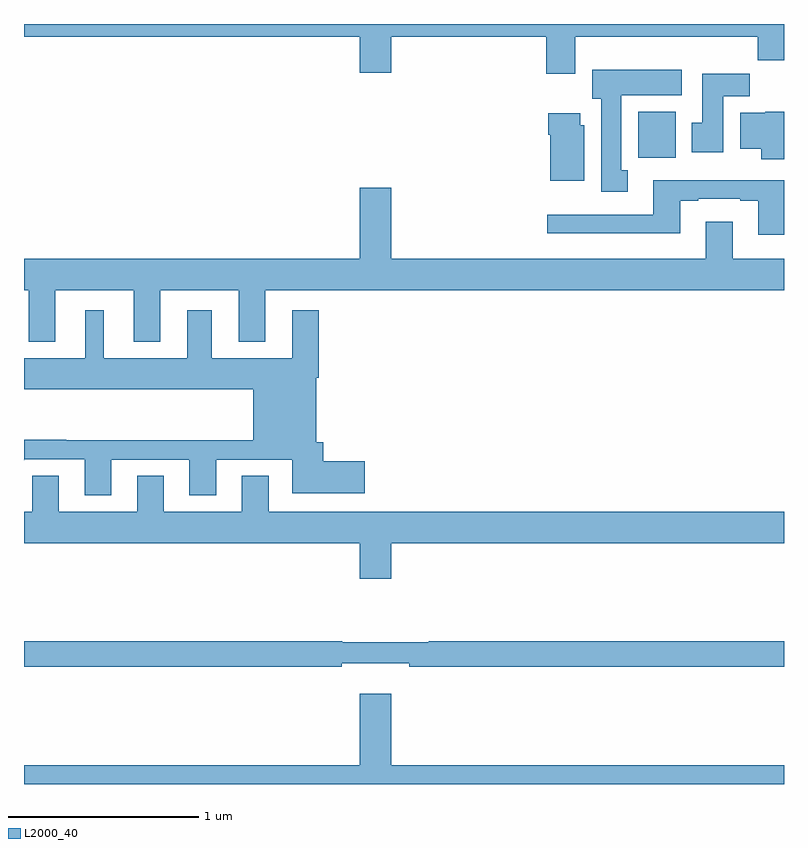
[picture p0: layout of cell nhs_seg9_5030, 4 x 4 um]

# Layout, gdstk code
import gdstk
lib = gdstk.Library(unit=1e-6, precision=1e-09)
def R(c, l, rs):  # rectangles x0, y0, x1, y1
    for r in rs: c.add(gdstk.rectangle(r[:2], r[2:], *l))
def P(c, l, *ps):  # polygons
    for p in ps: c.add(gdstk.Polygon(p, *l))
L2000_40 = (2000, 40)

nhs_seg9_5030 = lib.new_cell('nhs_seg9_5030')
R(nhs_seg9_5030, L2000_40, [(406.232,1183.796,406.429,1184.038)])
P(nhs_seg9_5030, L2000_40, [(403,1184.432),(404.768,1184.432),(404.768,1184.244),(404.932,1184.244),(404.932,1184.432),(405.749,1184.432),(405.749,1184.238),(405.901,1184.238),(405.901,1184.432),(406.861,1184.432),(406.861,1184.308),(407,1184.308),(407,1184.5),(403,1184.5)],
  [(406.177,1183.73),(406.144,1183.73),(406.144,1184.126),(406.462,1184.126),(406.462,1184.26),(405.992,1184.26),(405.992,1184.106),(406.037,1184.106),(406.037,1183.617),(406.177,1183.617)],
  [(406.681,1184.12),(406.82,1184.12),(406.82,1184.239),(406.571,1184.239),(406.571,1183.98),(406.514,1183.98),(406.514,1183.824),(406.681,1183.824)],
  [(407,1184.038),(406.902,1184.038),(406.902,1184.032),(406.769,1184.032),(406.769,1183.844),(406.88,1183.844),(406.88,1183.787),(407,1183.787)],
  [(405.949,1183.968),(405.928,1183.968),(405.928,1184.029),(405.758,1184.029),(405.758,1183.916),(405.77,1183.916),(405.77,1183.676),(405.949,1183.676)],
  [(407,1183.678),(406.313,1183.678),(406.313,1183.497),(405.753,1183.497),(405.753,1183.4),(406.453,1183.4),(406.453,1183.569),(406.549,1183.569),(406.549,1183.581),(406.769,1183.581),(406.769,1183.569),(406.865,1183.569),(406.865,1183.392),(407,1183.392)],
  [(403.165,1183.1),(403.577,1183.1),(403.577,1182.827),(403.717,1182.827),(403.717,1183.1),(404.129,1183.1),(404.129,1182.827),(404.269,1182.827),(404.269,1183.1),(407,1183.1),(407,1183.264),(406.729,1183.264),(406.729,1183.459),(406.589,1183.459),(406.589,1183.264),(404.932,1183.264),(404.932,1183.639),(404.768,1183.639),(404.768,1183.264),(403,1183.264),(403,1183.1),(403.025,1183.1),(403.025,1182.827),(403.165,1182.827)],
  [(403.459,1182.207),(403.871,1182.207),(403.871,1182.021),(404.011,1182.021),(404.011,1182.207),(404.411,1182.207),(404.411,1182.029),(404.794,1182.029),(404.794,1182.2),(404.576,1182.2),(404.576,1182.3),(404.539,1182.3),(404.539,1182.638),(404.552,1182.638),(404.552,1182.994),(404.411,1182.994),(404.411,1182.742),(403.987,1182.742),(403.987,1182.994),(403.859,1182.994),(403.859,1182.742),(403.42,1182.742),(403.42,1182.994),(403.322,1182.994),(403.322,1182.742),(403,1182.742),(403,1182.578),(404.207,1182.578),(404.207,1182.308),(403.223,1182.308),(403.223,1182.311),(403,1182.311),(403,1182.205),(403.005,1182.21),(403.319,1182.21),(403.319,1182.021),(403.459,1182.021)],
  [(404.932,1181.768),(407,1181.768),(407,1181.932),(404.287,1181.932),(404.287,1182.122),(404.147,1182.122),(404.147,1181.932),(403.735,1181.932),(403.735,1182.122),(403.595,1182.122),(403.595,1181.932),(403.183,1181.932),(403.183,1182.122),(403.044,1182.122),(403.044,1181.932),(403,1181.932),(403,1181.768),(404.768,1181.768),(404.768,1181.58),(404.932,1181.58)],
  [(404.672,1181.135),(405.028,1181.135),(405.028,1181.116),(407,1181.116),(407,1181.252),(405.13,1181.252),(405.13,1181.245),(404.675,1181.245),(404.675,1181.252),(403,1181.252),(403,1181.116),(404.672,1181.116)],
  [(407,1180.6),(404.932,1180.6),(404.932,1180.975),(404.768,1180.975),(404.768,1180.6),(403,1180.6),(403,1180.5),(407,1180.5)])

lib.write_gds('nhs_seg9_5030.gds')
